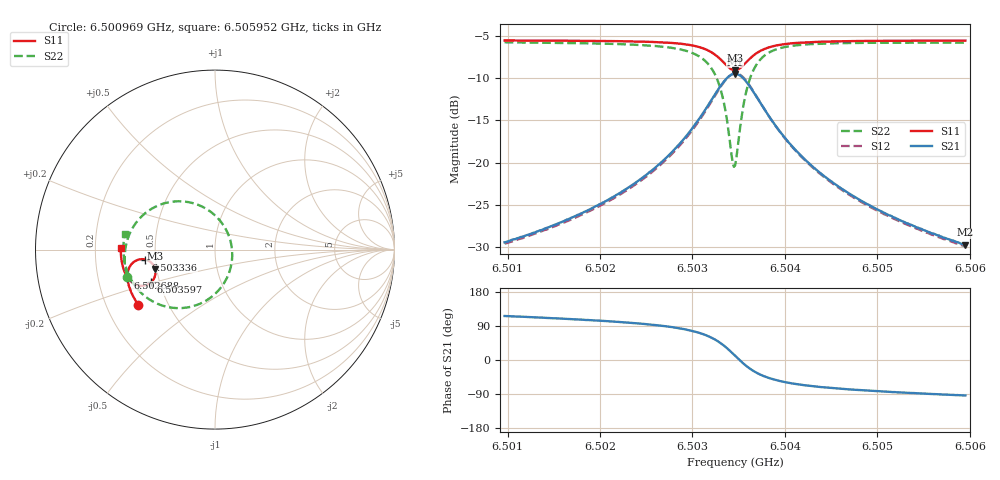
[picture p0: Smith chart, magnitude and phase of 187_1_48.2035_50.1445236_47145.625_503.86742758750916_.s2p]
#  HZ  S  RI  R  50.00
! Rohde & Schwarz Vector Network Analyzer
! Rohde-Schwarz,ZNB20-2Port,1311601062101988,3.16
! Created: UTC 3/20/2024, 11:44:22 AM
! freq[Hz]  re:S11  im:S11  re:S21  im:S21  re:S12  im:S12  re:S22  im:S22
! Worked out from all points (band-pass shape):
!   401 points, 6.500969 GHz to 6.505952 GHz, reference 50 ohm
!   highest |S21| = -9.52 dB at 6.50346 GHz (marker M1); lowest = -29.7 dB at 6.505952 GHz (marker M2)
!   |S21| within 3 dB of the highest: 6.503211 GHz to 6.503709 GHz (498.7 kHz wide, 0.00767 % of centre)
!   lowest |S11| = -9.1 dB at 6.50346 GHz (marker M3), VSWR 2.08, Z = 24.5 - j5.89 ohm
!   |S11| at or under -10 dB: nowhere
!   |S22| runs from -20.5 to -5.8 dB; largest |S21 - S12| = 0.012
!   S11 on the Smith chart (normalised r, x): 6.500969 GHz: 0.34, -0.29; 6.502688 GHz: 0.33, -0.14; 6.503336 GHz: 0.44, -0.06; 6.503597 GHz: 0.45, -0.19; 6.505952 GHz: 0.31, +0.01
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6.5009686e9  -0.427 -0.308  -0.0149 0.0304  -0.0132 0.0305  -0.4905 -0.1522
6.5018033e9  -0.4628 -0.246  -0.0142 0.0483  -0.0117 0.0478  -0.5033 -0.0631
6.5022393e9  -0.4781 -0.2074  -0.0114 0.0667  -0.00845 0.0654  -0.5005 -0.00125
6.502638e9  -0.4876 -0.1635  -0.00199 0.0977  0.00163 0.0952  -0.4798 0.0784
6.5026878e9  -0.488 -0.1569  0.00059 0.1034  0.00426 0.1008  -0.4746 0.0912
6.5029494e9  -0.4837 -0.1154  0.0271 0.1448  0.0307 0.1403  -0.4192 0.1741
6.5031363e9  -0.4619 -0.0773  0.0822 0.1873  0.0845 0.181  -0.3139 0.2469
6.5032484e9  -0.4287 -0.0566  0.1523 0.2047  0.153 0.1985  -0.1873 0.2689
6.5033356e9  -0.3876 -0.0554  0.233 0.188  0.2333 0.1829  -0.0479 0.2267
6.5034228e9  -0.3452 -0.0839  0.3104 0.1141  0.3128 0.1095  0.0752 0.0816
6.5034477e9  -0.3375 -0.0981  0.3237 0.0827  0.3267 0.0775  0.0918 0.0222
6.5034602e9  -0.3346 -0.1056  0.3278 0.066  0.3313 0.0601  0.0956 -0.00893
6.5034851e9  -0.3318 -0.1216  0.3314 0.0317  0.3349 0.0247  0.0932 -0.0715
6.5035225e9  -0.334 -0.1453  0.3241 -0.0178  0.3272 -0.0269  0.0659 -0.1591
6.5035972e9  -0.3559 -0.1817  0.2779 -0.0933  0.2776 -0.1046  -0.0428 -0.2801
6.5037094e9  -0.4009 -0.2013  0.1923 -0.138  0.1868 -0.1475  -0.2164 -0.3258
6.5038713e9  -0.4476 -0.1917  0.1095 -0.1344  0.1023 -0.1394  -0.3654 -0.2779
6.5040457e9  -0.4752 -0.1702  0.0646 -0.1136  0.0581 -0.1161  -0.4382 -0.212
6.5042949e9  -0.496 -0.1405  0.034 -0.0889  0.0295 -0.0895  -0.4818 -0.1391
6.5046935e9  -0.5123 -0.0987  0.0142 -0.0642  0.011 -0.0638  -0.5049 -0.0595
6.5051296e9  -0.5209 -0.0583  0.00515 -0.0485  0.00279 -0.0479  -0.5104 0.00216
6.5059518e9  -0.5259 0.0114  -0.00207 -0.0327  -0.00344 -0.0319  -0.5026 0.0896
